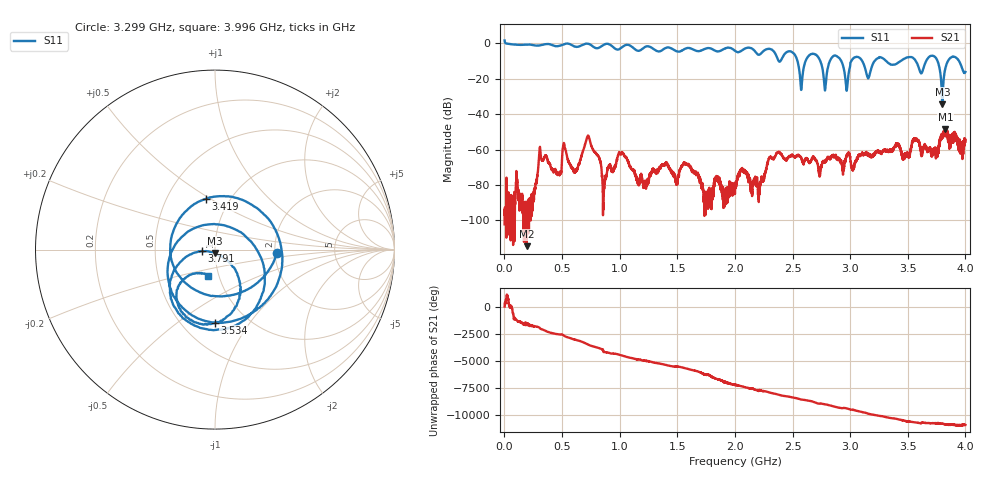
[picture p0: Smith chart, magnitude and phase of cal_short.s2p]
!Created with skrf (http://scikit-rf.org).
# GHz S RI R 50.0
!freq ReS11 ImS11 ReS21 ImS21 ReS12 ImS12 ReS22 ImS22
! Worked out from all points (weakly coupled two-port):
!   4000 points, 1 MHz to 4 GHz, reference 50 ohm
!   highest |S21| = -48.28 dB at 3.826 GHz (marker M1); lowest = -114.5 dB at 191 MHz (marker M2)
!   lowest |S11| = -34.5 dB at 3.8 GHz (marker M3), VSWR 1.04, Z = 49.8 - j1.87 ohm
!   |S11| at or under -10 dB: 3.105 GHz to 3.212 GHz (107.1 MHz wide, 3.39 % of centre); 3.312 GHz to 3.437 GHz (125.7 MHz wide, 3.72 % of centre); 3.57 GHz to 3.66 GHz (89.92 MHz wide, 2.49 % of centre) (the widest 3 of 9)
!   S12 and S22 are empty: the file has one direction only
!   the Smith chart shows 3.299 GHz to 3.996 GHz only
!   S11 on the Smith chart (normalised r, x): 3.299 GHz: 2.05, -0.10; 3.419 GHz: 0.78, +0.48; 3.534 GHz: 0.71, -0.69; 3.791 GHz: 0.86, -0.01; 3.996 GHz: 0.89, -0.27
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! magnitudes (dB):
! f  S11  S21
! 1 MHz  1.6  -102.2
! 191 MHz  -0.7  -114.5
! 317 MHz  -1.0  -64.1
! 668 MHz  -1.2  -63.7
! 866 MHz  -0.6  -78.3
! 1.334 GHz  -4.6  -72.2
! 2.001 GHz  -4.2  -80.5
! 2.488 GHz  -4.7  -63.4
! 2.576 GHz  -26.2  -64.7
! 2.667 GHz  -6.0  -65.0
! 2.782 GHz  -26.6  -67.1
! 2.862 GHz  -6.9  -63.4
! 2.969 GHz  -26.8  -63.1
! 3.299 GHz  -9.2  -60.0
! 3.334 GHz  -11.3  -61.0
! 3.419 GHz  -10.8  -57.8
! 3.534 GHz  -7.8  -58.2
! 3.791 GHz  -22.5  -53.8
! 3.8 GHz  -34.5  -52.7
! 3.826 GHz  -14.2  -48.3
! 3.996 GHz  -16.5  -55.8
! 4 GHz  -16.2  -55.6
